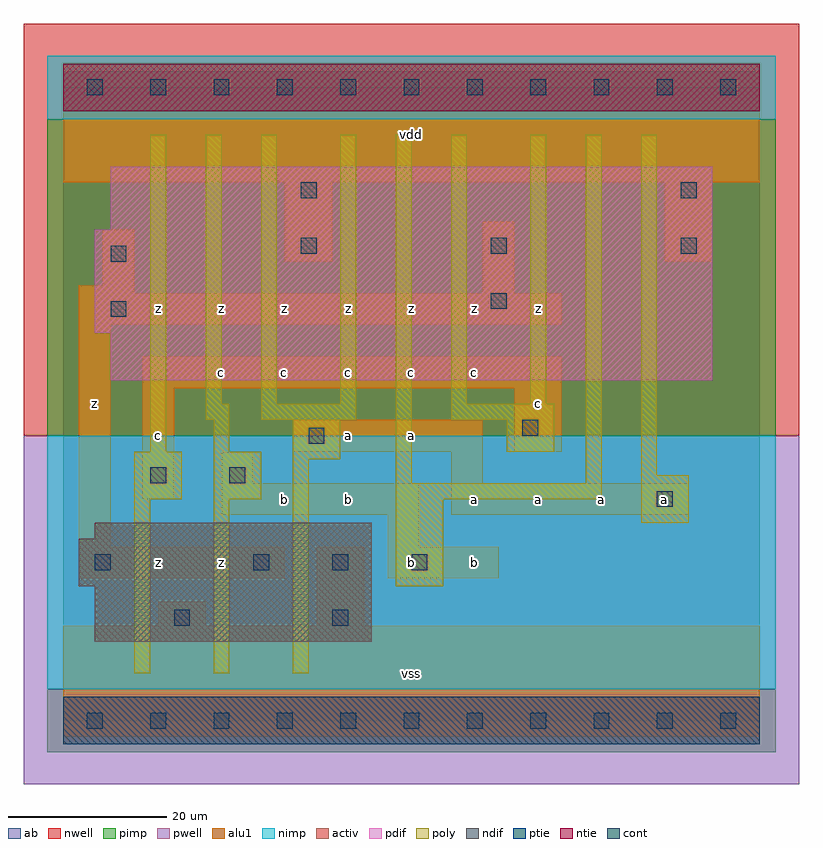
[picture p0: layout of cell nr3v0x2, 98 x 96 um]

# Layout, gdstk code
import gdstk
lib = gdstk.Library(unit=1e-6, precision=1e-09)
def R(c, l, rs):  # rectangles x0, y0, x1, y1
    for r in rs: c.add(gdstk.rectangle(r[:2], r[2:], *l))
def A(c, l, x, y, w, h, nx, ny, dx, dy):  # array of equal rectangles
    R(c, l, [(x+i*dx, y+j*dy, x+i*dx+w, y+j*dy+h) for i in range(nx) for j in range(ny)])
ndif = (3, 0)
pdif = (4, 0)
ntie = (5, 0)
ptie = (6, 0)
cont = (25, 0)
pwell = (41, 0)
nwell = (42, 0)
activ = (43, 0)
pimp = (44, 0)
nimp = (45, 0)
poly = (46, 0)
alu1 = (49, 0)
ab = (63, 0)

nr3v0x2 = lib.new_cell('nr3v0x2')
R(nr3v0x2, ndif, [(4,10,39,17), (2,17,39,23), (4,23,39,25)])
R(nr3v0x2, pdif, [(6,43,82,49), (4,49,82,62), (6,62,82,70)])
R(nr3v0x2, ntie, [(0,77,88,83)])
R(nr3v0x2, ptie, [(0,-3,88,3)])
A(nr3v0x2, cont, 3, -1, 2, 2, 11, 2, 8, 80)
A(nr3v0x2, cont, 24, 19, 2, 2, 3, 1, 10, 0)
A(nr3v0x2, cont, 30, 59, 2, 2, 3, 1, 24, 0)
R(nr3v0x2, cont, [(14,12,16,14), (34,12,36,14), (4,19,6,21), (75,27,77,29), (11,30,13,32), (21,30,23,32), (31,35,33,37), (58,36,60,38), (6,51,8,53), (54,52,56,54), (6,58,8,60), (30,66,32,68), (78,66,80,68)])
R(nr3v0x2, pwell, [(-5,-8,93,36)])
R(nr3v0x2, nwell, [(-5,36,93,88)])
R(nr3v0x2, activ, [(0,-3,88,3), (4,10,39,17), (2,17,39,23), (4,23,39,25), (6,43,82,49), (4,49,82,62), (6,62,82,70), (0,77,88,83)])
R(nr3v0x2, pimp, [(-2,-4,90,4), (-2,36,90,76)])
R(nr3v0x2, nimp, [(-2,4,90,36), (-2,76,90,84)])
R(nr3v0x2, poly, [(9,6,11,28), (19,6,21,28), (29,6,31,33), (42,17,48,28), (73,25,79,31), (9,28,15,34), (19,28,25,34), (42,28,68,30), (42,30,44,74), (66,30,68,74), (73,31,75,74), (29,33,35,38), (11,34,13,74), (19,34,21,38), (56,34,62,38), (18,38,21,40), (25,38,37,40), (49,38,62,40), (18,40,20,74), (25,40,27,74), (35,40,37,74), (49,40,51,74), (59,40,61,74)])
R(nr3v0x2, alu1, [(0,-2,88,12), (12,12,18,15), (32,12,38,22), (2,18,28,22), (41,18,55,22), (2,22,6,50), (41,22,45,26), (20,26,45,30), (49,26,79,30), (10,28,14,42), (20,30,24,34), (49,30,53,34), (29,34,53,38), (57,34,63,42), (10,42,63,46), (2,50,63,54), (2,54,9,55), (53,54,57,63), (5,55,9,62), (28,58,34,68), (76,58,82,68), (0,68,88,82)])
R(nr3v0x2, ab, [(0,0,88,80)])
nr3v0x2.add(gdstk.Label('z', (12,20), layer=49, texttype=0))
nr3v0x2.add(gdstk.Label('z', (4,40), layer=49, texttype=0))
nr3v0x2.add(gdstk.Label('c', (12,36), layer=49, texttype=0))
nr3v0x2.add(gdstk.Label('z', (12,52), layer=49, texttype=0))
nr3v0x2.add(gdstk.Label('z', (20,20), layer=49, texttype=0))
nr3v0x2.add(gdstk.Label('b', (28,28), layer=49, texttype=0))
nr3v0x2.add(gdstk.Label('c', (20,44), layer=49, texttype=0))
nr3v0x2.add(gdstk.Label('c', (28,44), layer=49, texttype=0))
nr3v0x2.add(gdstk.Label('z', (20,52), layer=49, texttype=0))
nr3v0x2.add(gdstk.Label('z', (28,52), layer=49, texttype=0))
nr3v0x2.add(gdstk.Label('vss', (44,6), layer=49, texttype=0))
nr3v0x2.add(gdstk.Label('b', (36,28), layer=49, texttype=0))
nr3v0x2.add(gdstk.Label('b', (44,20), layer=49, texttype=0))
nr3v0x2.add(gdstk.Label('a', (36,36), layer=49, texttype=0))
nr3v0x2.add(gdstk.Label('c', (36,44), layer=49, texttype=0))
nr3v0x2.add(gdstk.Label('a', (44,36), layer=49, texttype=0))
nr3v0x2.add(gdstk.Label('c', (44,44), layer=49, texttype=0))
nr3v0x2.add(gdstk.Label('z', (44,52), layer=49, texttype=0))
nr3v0x2.add(gdstk.Label('z', (36,52), layer=49, texttype=0))
nr3v0x2.add(gdstk.Label('vdd', (44,74), layer=49, texttype=0))
nr3v0x2.add(gdstk.Label('b', (52,20), layer=49, texttype=0))
nr3v0x2.add(gdstk.Label('a', (52,28), layer=49, texttype=0))
nr3v0x2.add(gdstk.Label('a', (60,28), layer=49, texttype=0))
nr3v0x2.add(gdstk.Label('a', (68,28), layer=49, texttype=0))
nr3v0x2.add(gdstk.Label('c', (52,44), layer=49, texttype=0))
nr3v0x2.add(gdstk.Label('c', (60,40), layer=49, texttype=0))
nr3v0x2.add(gdstk.Label('z', (60,52), layer=49, texttype=0))
nr3v0x2.add(gdstk.Label('z', (52,52), layer=49, texttype=0))
nr3v0x2.add(gdstk.Label('a', (76,28), layer=49, texttype=0))

lib.write_gds('nr3v0x2.gds')
